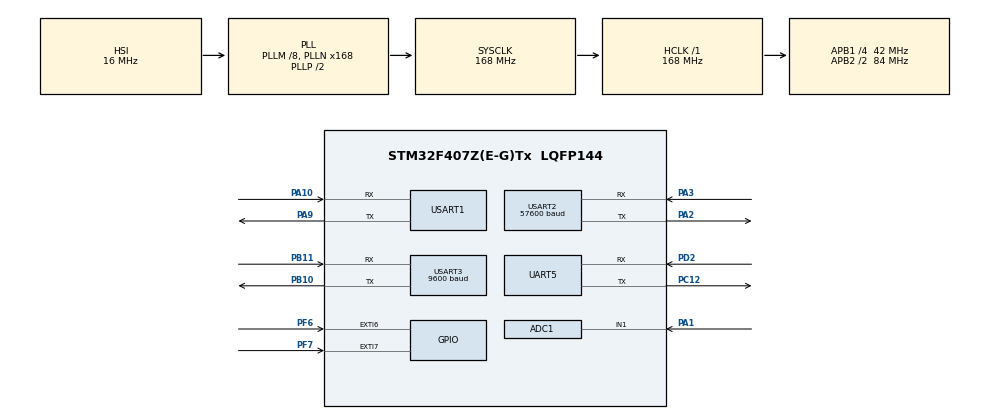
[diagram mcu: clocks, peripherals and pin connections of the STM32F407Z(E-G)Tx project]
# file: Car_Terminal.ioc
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ADC1.Channel-0\#ChannelRegularConversion=ADC_CHANNEL_1
ADC1.ClockPrescaler=ADC_CLOCK_SYNC_PCLK_DIV6
ADC1.NbrOfConversionFlag=1
ADC1.Rank-0\#ChannelRegularConversion=1
ADC1.SamplingTime-0\#ChannelRegularConversion=ADC_SAMPLETIME_3CYCLES
ADC1.master=1
Mcu.Family=STM32F4
Mcu.Name=STM32F407Z(E-G)Tx
Mcu.Package=LQFP144
NVIC.EXTI9_5_IRQn=true\:1\:0\:true\:false\:true\:true\:true\:true
NVIC.PriorityGroup=NVIC_PRIORITYGROUP_4
NVIC.RCC_IRQn=true\:0\:0\:false\:false\:true\:true\:false\:true
NVIC.TIM2_IRQn=true\:15\:0\:true\:false\:true\:true\:true\:true
PA1.Signal=ADCx_IN1
PA10.Mode=Asynchronous
PA10.Signal=USART1_RX
PA2.Mode=Asynchronous
PA2.Signal=USART2_TX
PA3.Mode=Asynchronous
PA3.Signal=USART2_RX
PA9.Mode=Asynchronous
PA9.Signal=USART1_TX
PB10.Mode=Asynchronous
PB10.Signal=USART3_TX
PB11.Mode=Asynchronous
PB11.Signal=USART3_RX
PC12.Mode=Asynchronous
PC12.Signal=UART5_TX
PD2.Mode=Asynchronous
PD2.Signal=UART5_RX
PF6.GPIO_ModeDefaultEXTI=GPIO_MODE_IT_FALLING
PF6.GPIO_PuPd=GPIO_PULLUP
PF6.Signal=GPXTI6
PF7.GPIO_ModeDefaultEXTI=GPIO_MODE_IT_RISING
PF7.GPIO_PuPd=GPIO_PULLDOWN
PF7.Signal=GPXTI7
ProjectManager.HeapSize=0x200
ProjectManager.StackSize=0x400
ProjectManager.TargetToolchain=MDK-ARM V5
RCC.48MHZClocksFreq_Value=84000000
RCC.AHBFreq_Value=168000000
RCC.APB1CLKDivider=RCC_HCLK_DIV4
RCC.APB1Freq_Value=42000000
RCC.APB1TimFreq_Value=84000000
RCC.APB2CLKDivider=RCC_HCLK_DIV2
RCC.APB2Freq_Value=84000000
RCC.APB2TimFreq_Value=168000000
RCC.CortexFreq_Value=168000000
RCC.HCLKFreq_Value=168000000
RCC.HSE_VALUE=25000000
RCC.HSI_VALUE=16000000
RCC.LSE_VALUE=32768
RCC.PLLM=8
RCC.PLLN=168
RCC.SYSCLKFreq_VALUE=168000000
RCC.SYSCLKSource=RCC_SYSCLKSOURCE_PLLCLK
RCC.VCOOutputFreq_Value=336000000
SH.ADCx_IN1.0=ADC1_IN1,IN1
TIM2.AutoReloadPreload=TIM_AUTORELOAD_PRELOAD_ENABLE
TIM2.ClockDivision=TIM_CLOCKDIVISION_DIV4
TIM2.CounterMode=TIM_COUNTERMODE_DOWN
TIM2.Period=6000
TIM2.Prescaler=42000
UART5.VirtualMode=Asynchronous
USART1.VirtualMode=VM_ASYNC
USART2.BaudRate=57600
USART2.VirtualMode=VM_ASYNC
USART3.BaudRate=9600
USART3.VirtualMode=VM_ASYNC
VP_TIM2_VS_ClockSourceINT.Mode=Internal
board=custom

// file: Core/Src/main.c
/* USER CODE BEGIN Header */
/**
  ******************************************************************************
  * @file           : main.c
  * @brief          : Main program body
  ******************************************************************************
  * @attention
  *
  * Copyright (c) 2024 STMicroelectronics.
  * All rights reserved.
  *
  * This software is licensed under terms that can be found in the LICENSE file
  * in the root directory of this software component.
  * If no LICENSE file comes with this software, it is provided AS-IS.
  *
  ******************************************************************************
  */
/* USER CODE END Header */
#include "main.h"
#include "adc.h"
#include "tim.h"
#include "usart.h"
#include "gpio.h"

/* USER CODE BEGIN Includes */
#include "MyCallbackFunc.h"
#include "string.h"
#include "AS608.h"
#include "AES128.h"
#include "syn6288.h"

/* USER CODE END Includes */

void SystemClock_Config(void);

/* USER CODE BEGIN 0 */
uint8_t count=0;
extern uint8_t step;
extern uint8_t Resule_AlcoholTest;
extern volatile uint8_t Result_fgPrt;//指纹测试结果
extern volatile uint8_t playSoundFlag ;//音乐播放开关
extern uint8_t SYN_StopCom[] ; //停止合成
extern uint8_t SYN_SuspendCom[]; //暂停合成
extern uint8_t SYN_RecoverCom[]; //恢复合成
extern uint8_t SYN_ChackCom[] ; //状濁查诿
extern uint8_t SYN_PowerDownCom[] ; //进入POWER DOWN 状濁命仿

/* USER CODE END 0 */

int main(void)
{
  /* USER CODE BEGIN 1 */

	//数据加密解密示例

//AES128_HANDLE AES128_Handle;
//	uint8_t DataBuff[64];//霿要加密的数据
//        uint8_t key[16];//钥匙key
//		uint32_t len;//加密的长庿
//				memset(key, 0, 16);//将key清零
//	key[0] = '1';//设置钥匙丿1其余全零
//    AES128_SetKey(&AES128_Handle, key);//AES128设置KEY，?过key获得对应的句柿
//	len = AES128_EncryptData(&AES128_Handle, DataBuff, 20);//通过句柄去去对数据进行加寿
//	AES128_DecryptData(&AES128_Handle, DataBuff, len);	//子操使:AES128解密128bit数据，len表示要解密数据的长度
  /* USER CODE END 1 */

  /* MCU Configuration--------------------------------------------------------*/

  /* Reset of all peripherals, Initializes the Flash interface and the Systick. */
  HAL_Init();

  /* Configure the system clock */
  SystemClock_Config();

  /* Initialize all configured peripherals */
  MX_GPIO_Init();
  MX_ADC1_Init();
  MX_TIM2_Init();
  MX_USART1_UART_Init();
  MX_USART2_UART_Init();
  MX_USART3_UART_Init();
  MX_UART5_Init();
  /* USER CODE BEGIN 2 */
	//htim2.Instance->ARR=6000;

	HAL_TIM_Base_Start_IT(&htim2);

	//选择背景音乐2?(0：无背景音乐  1-15：背景音乐可逿)
		//m[0~16]:0背景音乐为静音，16背景音乐音量朿夿
		//v[0~16]:0朗读音量为静音，16朗读音量朿夿
		//t[0~5]:0朗读语?最慢，5朗读语?最忿
		//其他不常用功能请参迃数据手冿
		//SYN_FrameInfo(2, "[v7][m1][t5]欢迎使用绿深旗舰店SYN6288语音合成模块");
		//暂停合成，此时没有用到，用于展示函数用法
		//YS_SYN_Set(SYN_SuspendCom);

//
  /* USER CODE END 2 */

  /* Infinite loop */
  while (1)
  {

    /* USER CODE BEGIN 3 */
		if( step==1 && playSoundFlag==1)//当前为第一步，且打开了语音
		{
			playSoundFlag=0;//置零等待触发
			SYN_FrameInfo(0, (uint8_t *)"[v7][m1][t5]请验证指纹");

			char str[16]="";
			sprintf(str,"%d",step);
			HAL_UART_Transmit(&huart1,str,2,100);
		}
		if(step==2 &&playSoundFlag==1)
		{
		playSoundFlag=0;
			if(Result_fgPrt)
			{

			SYN_FrameInfo(0, (uint8_t *)"[v7][m1][t5]指纹验证成功，请进行酒精验证");

			}
			else
			{

				step=1;
				SYN_FrameInfo(0, (uint8_t *)"[v7][m1][t5]指纹验证失败");

			}

		}

			if( step==3 && playSoundFlag==1)//当前为第二步，且打开了语音
		{
			playSoundFlag=0;//置零等待触发
			if(Resule_AlcoholTest)
			{
			SYN_FrameInfo(0, (uint8_t *)"[v7][m1][t5]酒精测试通过，请启动车辆");
			}
			else
			{

				SYN_FrameInfo(0, (uint8_t *)"[v7][m1][t5]酒精测试未通过，请关闭车辆");
			}
		}

//		SYN_FrameInfo(0, (uint8_t *)"[v7][m1][t5]请按压手指");
//		HAL_Delay(1500);
//		HAL_Delay(1500);
//		HAL_Delay(1500);

  }
  /* USER CODE END 3 */
}

void SystemClock_Config(void)
{
  RCC_OscInitTypeDef RCC_OscInitStruct = {0};
  RCC_ClkInitTypeDef RCC_ClkInitStruct = {0};

  /** Configure the main internal regulator output voltage
  */
  __HAL_RCC_PWR_CLK_ENABLE();
  __HAL_PWR_VOLTAGESCALING_CONFIG(PWR_REGULATOR_VOLTAGE_SCALE1);

  /** Initializes the RCC Oscillators according to the specified parameters
  * in the RCC_OscInitTypeDef structure.
  */
  RCC_OscInitStruct.OscillatorType = RCC_OSCILLATORTYPE_HSI;
  RCC_OscInitStruct.HSIState = RCC_HSI_ON;
  RCC_OscInitStruct.HSICalibrationValue = RCC_HSICALIBRATION_DEFAULT;
  RCC_OscInitStruct.PLL.PLLState = RCC_PLL_ON;
  RCC_OscInitStruct.PLL.PLLSource = RCC_PLLSOURCE_HSI;
  RCC_OscInitStruct.PLL.PLLM = 8;
  RCC_OscInitStruct.PLL.PLLN = 168;
  RCC_OscInitStruct.PLL.PLLP = RCC_PLLP_DIV2;
  RCC_OscInitStruct.PLL.PLLQ = 4;
  if (HAL_RCC_OscConfig(&RCC_OscInitStruct) != HAL_OK)
  {
    Error_Handler();
  }

  /** Initializes the CPU, AHB and APB buses clocks
  */
  RCC_ClkInitStruct.ClockType = RCC_CLOCKTYPE_HCLK|RCC_CLOCKTYPE_SYSCLK
                              |RCC_CLOCKTYPE_PCLK1|RCC_CLOCKTYPE_PCLK2;
  RCC_ClkInitStruct.SYSCLKSource = RCC_SYSCLKSOURCE_PLLCLK;
  RCC_ClkInitStruct.AHBCLKDivider = RCC_SYSCLK_DIV1;
  RCC_ClkInitStruct.APB1CLKDivider = RCC_HCLK_DIV4;
  RCC_ClkInitStruct.APB2CLKDivider = RCC_HCLK_DIV2;

  if (HAL_RCC_ClockConfig(&RCC_ClkInitStruct, FLASH_LATENCY_5) != HAL_OK)
  {
    Error_Handler();
  }
}

void Error_Handler(void)
{
  __disable_irq();
  while (1)
  {
  }
}
